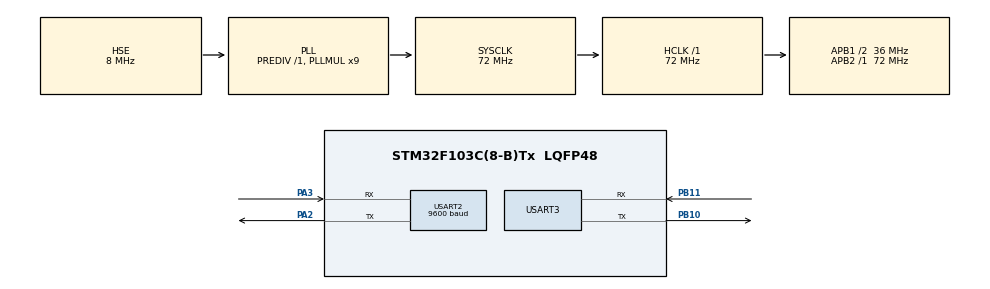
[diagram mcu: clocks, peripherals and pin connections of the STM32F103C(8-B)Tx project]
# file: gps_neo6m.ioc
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Mcu.Family=STM32F1
Mcu.Name=STM32F103C(8-B)Tx
Mcu.Package=LQFP48
NVIC.PriorityGroup=NVIC_PRIORITYGROUP_4
NVIC.USART2_IRQn=true\:0\:0\:false\:false\:true\:true\:true\:true
PA2.Mode=Asynchronous
PA2.Signal=USART2_TX
PA3.Mode=Asynchronous
PA3.Signal=USART2_RX
PB10.Mode=Asynchronous
PB10.Signal=USART3_TX
PB11.Mode=Asynchronous
PB11.Signal=USART3_RX
PD0-OSC_IN.Mode=HSE-External-Oscillator
PD0-OSC_IN.Signal=RCC_OSC_IN
PD1-OSC_OUT.Mode=HSE-External-Oscillator
PD1-OSC_OUT.Signal=RCC_OSC_OUT
ProjectManager.HeapSize=0x200
ProjectManager.StackSize=0x400
ProjectManager.TargetToolchain=STM32CubeIDE
RCC.AHBFreq_Value=72000000
RCC.APB1CLKDivider=RCC_HCLK_DIV2
RCC.APB1Freq_Value=36000000
RCC.APB1TimFreq_Value=72000000
RCC.APB2Freq_Value=72000000
RCC.APB2TimFreq_Value=72000000
RCC.HCLKFreq_Value=72000000
RCC.PLLMUL=RCC_PLL_MUL9
RCC.PLLSourceVirtual=RCC_PLLSOURCE_HSE
RCC.SYSCLKFreq_VALUE=72000000
RCC.SYSCLKSource=RCC_SYSCLKSOURCE_PLLCLK
RCC.USBFreq_Value=72000000
USART2.BaudRate=9600
USART2.VirtualMode=VM_ASYNC
USART3.VirtualMode=VM_ASYNC
board=custom

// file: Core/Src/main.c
/* USER CODE BEGIN Header */
/**
  ******************************************************************************
  * @file           : main.c
  * @brief          : Main program body
  ******************************************************************************
  * @attention
  *
  * Copyright (c) 2023 STMicroelectronics.
  * All rights reserved.
  *
  * This software is licensed under terms that can be found in the LICENSE file
  * in the root directory of this software component.
  * If no LICENSE file comes with this software, it is provided AS-IS.
  *
  ******************************************************************************
  */
/* USER CODE END Header */
#include "main.h"

/* USER CODE BEGIN Includes */
#include "uartRingBuffer.h"
#include "NMEA.h"
#include "stdio.h"
#include "string.h"
/* USER CODE END Includes */

/* USER CODE BEGIN PTD */
#define PUTCHAR_PROTOTYPE int __io_putchar(int ch)

/* USER CODE END PTD */

UART_HandleTypeDef huart2;
UART_HandleTypeDef huart3;

void SystemClock_Config(void);
static void MX_GPIO_Init(void);
static void MX_USART2_UART_Init(void);
static void MX_USART3_UART_Init(void);

/* USER CODE BEGIN 0 */
char GGA[100];
char RMC[100];

GPSSTRUCT gpsData;

int flagGGA = 0, flagRMC = 0;
char lcdBuffer [50];

int VCCTimeout = 5000; // GGA or RMC will not be received if the VCC is not sufficient
/* USER CODE END 0 */

int main(void)
{

  /* MCU Configuration--------------------------------------------------------*/

  /* Reset of all peripherals, Initializes the Flash interface and the Systick. */
  HAL_Init();

  /* Configure the system clock */
  SystemClock_Config();

  /* Initialize all configured peripherals */
  MX_GPIO_Init();
  MX_USART2_UART_Init();
  MX_USART3_UART_Init();
  /* USER CODE BEGIN 2 */
  Ringbuf_init();
    HAL_Delay (500);
  /* USER CODE END 2 */

  /* Infinite loop */
  while (1)
  {

    /* USER CODE BEGIN 3 */
	  if (Wait_for("GGA") == 1)
	  {

		  VCCTimeout = 5000;  // Reset the VCC Timeout indicating the GGA is being received

		  Copy_upto("*", GGA);
		  if (decodeGGA(GGA, &gpsData.ggastruct) == 0) flagGGA = 2;  // 2 indicates the data is valid
		  else flagGGA = 1;  // 1 indicates the data is invalid
	  }

	  if (Wait_for("RMC") == 1)
	  {

		  VCCTimeout = 5000;  // Reset the VCC Timeout indicating the RMC is being received

		  Copy_upto("*", RMC);
		  if (decodeRMC(RMC, &gpsData.rmcstruct) == 0) flagRMC = 2;  // 2 indicates the data is valid
		  else flagRMC = 1;  // 1 indicates the data is invalid
	  }

	  if ((flagGGA == 2) | (flagRMC == 2))
	  {
		  sprintf (lcdBuffer, "DATA: %02d:%02d:%02d, %02d%02d%02d\n\n", gpsData.ggastruct.tim.hour, \
				  gpsData.ggastruct.tim.min, gpsData.ggastruct.tim.sec, gpsData.rmcstruct.date.Day, \
				  gpsData.rmcstruct.date.Mon, gpsData.rmcstruct.date.Yr);
		  printf("%s",lcdBuffer);
		  memset(lcdBuffer, '\0', 50);
		  sprintf (lcdBuffer, "LOCAL: %.5f%c, %.5f%c  \n", gpsData.ggastruct.lcation.latitude, gpsData.ggastruct.lcation.NS,\
				  gpsData.ggastruct.lcation.longitude, gpsData.ggastruct.lcation.EW);
		  printf("%s",lcdBuffer);
		  memset(lcdBuffer, '\0', 50);
		  sprintf (lcdBuffer, "num sat: %u\n",gpsData.ggastruct.numofsat );
		  printf("%s",lcdBuffer);
		  memset(lcdBuffer, '\0', 50);

	  }

	  else if ((flagGGA == 1) | (flagRMC == 1))
	  {
		  // Instead of clearing the display, it's better if we print spaces.
		  // This will avoid the "refreshing" part
		  printf("   NO FIX YET   ");
		  printf("   Please wait  ");
	  }

	  if (VCCTimeout <= 0)
	  {
		  VCCTimeout = 5000;  // Reset the timeout

		  //reset flags
		  flagGGA =flagRMC =0;

		  // You are here means the VCC is less, or maybe there is some connection issue
		  // Check the VCC, also you can try connecting to the external 5V
		  printf("    VCC Issue   ");
		  printf("Check Connection");
	  }

  }
  /* USER CODE END 3 */
}

void SystemClock_Config(void)
{
  RCC_OscInitTypeDef RCC_OscInitStruct = {0};
  RCC_ClkInitTypeDef RCC_ClkInitStruct = {0};

  /** Initializes the RCC Oscillators according to the specified parameters
  * in the RCC_OscInitTypeDef structure.
  */
  RCC_OscInitStruct.OscillatorType = RCC_OSCILLATORTYPE_HSE;
  RCC_OscInitStruct.HSEState = RCC_HSE_ON;
  RCC_OscInitStruct.HSEPredivValue = RCC_HSE_PREDIV_DIV1;
  RCC_OscInitStruct.HSIState = RCC_HSI_ON;
  RCC_OscInitStruct.PLL.PLLState = RCC_PLL_ON;
  RCC_OscInitStruct.PLL.PLLSource = RCC_PLLSOURCE_HSE;
  RCC_OscInitStruct.PLL.PLLMUL = RCC_PLL_MUL9;
  if (HAL_RCC_OscConfig(&RCC_OscInitStruct) != HAL_OK)
  {
    Error_Handler();
  }

  /** Initializes the CPU, AHB and APB buses clocks
  */
  RCC_ClkInitStruct.ClockType = RCC_CLOCKTYPE_HCLK|RCC_CLOCKTYPE_SYSCLK
                              |RCC_CLOCKTYPE_PCLK1|RCC_CLOCKTYPE_PCLK2;
  RCC_ClkInitStruct.SYSCLKSource = RCC_SYSCLKSOURCE_PLLCLK;
  RCC_ClkInitStruct.AHBCLKDivider = RCC_SYSCLK_DIV1;
  RCC_ClkInitStruct.APB1CLKDivider = RCC_HCLK_DIV2;
  RCC_ClkInitStruct.APB2CLKDivider = RCC_HCLK_DIV1;

  if (HAL_RCC_ClockConfig(&RCC_ClkInitStruct, FLASH_LATENCY_2) != HAL_OK)
  {
    Error_Handler();
  }
}

static void MX_USART2_UART_Init(void)
{

  huart2.Instance = USART2;
  huart2.Init.BaudRate = 9600;
  huart2.Init.WordLength = UART_WORDLENGTH_8B;
  huart2.Init.StopBits = UART_STOPBITS_1;
  huart2.Init.Parity = UART_PARITY_NONE;
  huart2.Init.Mode = UART_MODE_TX_RX;
  huart2.Init.HwFlowCtl = UART_HWCONTROL_NONE;
  huart2.Init.OverSampling = UART_OVERSAMPLING_16;
  if (HAL_UART_Init(&huart2) != HAL_OK)
  {
    Error_Handler();
  }

}

static void MX_USART3_UART_Init(void)
{

  huart3.Instance = USART3;
  huart3.Init.BaudRate = 115200;
  huart3.Init.WordLength = UART_WORDLENGTH_8B;
  huart3.Init.StopBits = UART_STOPBITS_1;
  huart3.Init.Parity = UART_PARITY_NONE;
  huart3.Init.Mode = UART_MODE_TX_RX;
  huart3.Init.HwFlowCtl = UART_HWCONTROL_NONE;
  huart3.Init.OverSampling = UART_OVERSAMPLING_16;
  if (HAL_UART_Init(&huart3) != HAL_OK)
  {
    Error_Handler();
  }

}

static void MX_GPIO_Init(void)
{

  /* GPIO Ports Clock Enable */
  __HAL_RCC_GPIOD_CLK_ENABLE();
  __HAL_RCC_GPIOA_CLK_ENABLE();
  __HAL_RCC_GPIOB_CLK_ENABLE();

}

/* USER CODE BEGIN 4 */
PUTCHAR_PROTOTYPE
{
  /* Place your implementation of fputc here */
  /* e.g. write a character to the USART1 and Loop until the end of transmission */
  HAL_UART_Transmit(&huart3, (uint8_t *)&ch, 1, 0xFFFF);

  return ch;
}
/* USER CODE END 4 */

void Error_Handler(void)
{
  __disable_irq();
  while (1)
  {
  }
}
